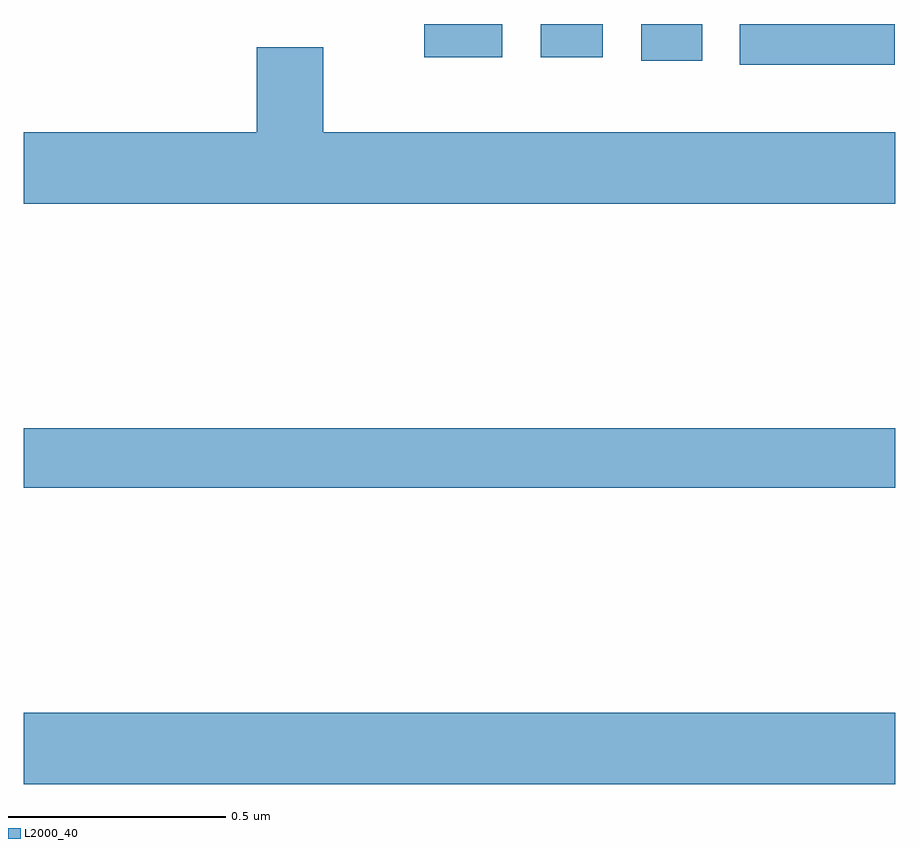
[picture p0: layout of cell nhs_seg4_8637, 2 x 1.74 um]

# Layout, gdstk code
import gdstk
lib = gdstk.Library(unit=1e-6, precision=1e-09)
def R(c, l, rs):  # rectangles x0, y0, x1, y1
    for r in rs: c.add(gdstk.rectangle(r[:2], r[2:], *l))
def P(c, l, *ps):  # polygons
    for p in ps: c.add(gdstk.Polygon(p, *l))
L2000_40 = (2000, 40)

nhs_seg4_8637 = lib.new_cell('nhs_seg4_8637')
R(nhs_seg4_8637, L2000_40, [(217,794.156,219,794.32), (217,794.836,219,794.972), (218.643,795.806,218.999,795.9), (218.417,795.816,218.557,795.9), (217.919,795.824,218.098,795.9), (218.186,795.824,218.329,795.9)])
P(nhs_seg4_8637, L2000_40, [(219,795.652),(217.687,795.652),(217.687,795.847),(217.535,795.847),(217.535,795.652),(217,795.652),(217,795.488),(219,795.488)])

lib.write_gds('nhs_seg4_8637.gds')
